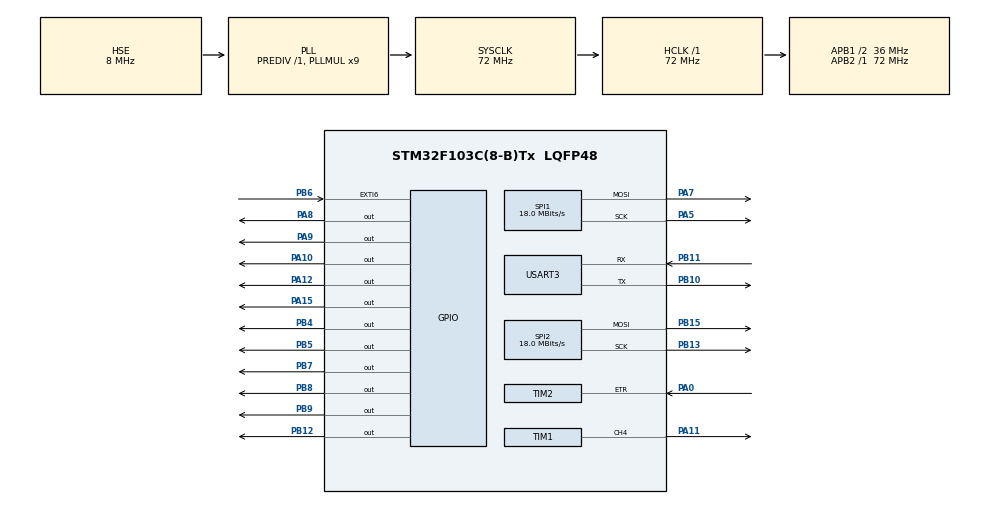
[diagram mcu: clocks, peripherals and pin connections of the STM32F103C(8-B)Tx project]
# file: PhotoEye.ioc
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Dma.Request0=SPI1_TX
Dma.SPI1_TX.0.Direction=DMA_MEMORY_TO_PERIPH
Dma.SPI1_TX.0.Instance=DMA1_Channel3
Dma.SPI1_TX.0.MemDataAlignment=DMA_MDATAALIGN_BYTE
Dma.SPI1_TX.0.MemInc=DMA_MINC_ENABLE
Dma.SPI1_TX.0.Mode=DMA_NORMAL
Dma.SPI1_TX.0.PeriphDataAlignment=DMA_PDATAALIGN_BYTE
Dma.SPI1_TX.0.PeriphInc=DMA_PINC_DISABLE
Dma.SPI1_TX.0.Priority=DMA_PRIORITY_LOW
Mcu.Family=STM32F1
Mcu.Name=STM32F103C(8-B)Tx
Mcu.Package=LQFP48
NVIC.DMA1_Channel3_IRQn=true\:0\:0\:false\:false\:true\:false\:true
NVIC.EXTI9_5_IRQn=true\:0\:0\:false\:false\:true\:true\:true
NVIC.PriorityGroup=NVIC_PRIORITYGROUP_4
NVIC.TIM2_IRQn=true\:0\:0\:false\:false\:true\:true\:true
NVIC.USART3_IRQn=true\:0\:0\:false\:false\:true\:true\:true
PA0-WKUP.Signal=S_TIM2_CH1_ETR
PA10.Signal=GPIO_Output
PA11.Signal=S_TIM1_CH4
PA12.Signal=GPIO_Output
PA13.Mode=Trace_Asynchronous_SW
PA13.Signal=SYS_JTMS-SWDIO
PA14.Mode=Trace_Asynchronous_SW
PA14.Signal=SYS_JTCK-SWCLK
PA15.Signal=GPIO_Output
PA5.Mode=TX_Only_Simplex_Unidirect_Master
PA5.Signal=SPI1_SCK
PA7.Mode=TX_Only_Simplex_Unidirect_Master
PA7.Signal=SPI1_MOSI
PA8.Signal=GPIO_Output
PA9.Signal=GPIO_Output
PB10.Mode=Asynchronous
PB10.Signal=USART3_TX
PB11.Mode=Asynchronous
PB11.Signal=USART3_RX
PB12.Signal=GPIO_Output
PB13.Mode=TX_Only_Simplex_Unidirect_Master
PB13.Signal=SPI2_SCK
PB15.Mode=TX_Only_Simplex_Unidirect_Master
PB15.Signal=SPI2_MOSI
PB3.Mode=Trace_Asynchronous_SW
PB3.Signal=SYS_JTDO-TRACESWO
PB4.Signal=GPIO_Output
PB5.Signal=GPIO_Output
PB6.Signal=GPXTI6
PB7.Signal=GPIO_Output
PB8.Signal=GPIO_Output
PB9.Signal=GPIO_Output
PD0-OSC_IN.Mode=HSE-External-Oscillator
PD0-OSC_IN.Signal=RCC_OSC_IN
PD1-OSC_OUT.Mode=HSE-External-Oscillator
PD1-OSC_OUT.Signal=RCC_OSC_OUT
ProjectManager.HeapSize=0x200
ProjectManager.StackSize=0x400
ProjectManager.TargetToolchain=MDK-ARM V5.27
RCC.AHBFreq_Value=72000000
RCC.APB1CLKDivider=RCC_HCLK_DIV2
RCC.APB1Freq_Value=36000000
RCC.APB1TimFreq_Value=72000000
RCC.APB2Freq_Value=72000000
RCC.APB2TimFreq_Value=72000000
RCC.HCLKFreq_Value=72000000
RCC.PLLMUL=RCC_PLL_MUL9
RCC.PLLSourceVirtual=RCC_PLLSOURCE_HSE
RCC.SYSCLKFreq_VALUE=72000000
RCC.SYSCLKSource=RCC_SYSCLKSOURCE_PLLCLK
RCC.USBFreq_Value=72000000
SH.S_TIM1_CH4.0=TIM1_CH4,PWM Generation4 CH4
SH.S_TIM2_CH1_ETR.0=TIM2_ETR,ClockSourceETR_Mode2
SPI1.BaudRatePrescaler=SPI_BAUDRATEPRESCALER_4
SPI1.CLKPhase=SPI_PHASE_2EDGE
SPI1.CLKPolarity=SPI_POLARITY_HIGH
SPI1.CRCCalculation=SPI_CRCCALCULATION_DISABLE
SPI1.CalculateBaudRate=18.0 MBits/s
SPI1.Direction=SPI_DIRECTION_2LINES
SPI1.Mode=SPI_MODE_MASTER
SPI1.VirtualType=VM_MASTER
SPI2.CLKPhase=SPI_PHASE_2EDGE
SPI2.CLKPolarity=SPI_POLARITY_HIGH
SPI2.CalculateBaudRate=18.0 MBits/s
SPI2.Direction=SPI_DIRECTION_2LINES
SPI2.Mode=SPI_MODE_MASTER
SPI2.VirtualType=VM_MASTER
TIM1.Channel-PWM\ Generation4\ CH4=TIM_CHANNEL_4
TIM1.Period=499
TIM1.Prescaler=71
TIM2.Period=1999
TIM2.Prescaler=360
USART3.VirtualMode=VM_ASYNC
board=custom

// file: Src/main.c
/* USER CODE BEGIN Header */
/**
  ******************************************************************************
  * @file           : main.c
  * @brief          : Main program body
  ******************************************************************************
  * @attention
  *
  * <h2><center>&copy; Copyright (c) 2020 STMicroelectronics.
  * All rights reserved.</center></h2>
  *
  * This software component is licensed by ST under BSD 3-Clause license,
  * the "License"; You may not use this file except in compliance with the
  * License. You may obtain a copy of the License at:
  *                        opensource.org/licenses/BSD-3-Clause
  *
  ******************************************************************************
  */
/* USER CODE END Header */

#include "main.h"

/* USER CODE BEGIN Includes */
#include "oled.h"
#include "I2C_Soft.h"
#include "uart.h"
#include <stdio.h>
#include "vl53l0x.h"
/* USER CODE END Includes */

SPI_HandleTypeDef hspi1;
SPI_HandleTypeDef hspi2;
DMA_HandleTypeDef hdma_spi1_tx;

TIM_HandleTypeDef htim1;
TIM_HandleTypeDef htim2;

UART_HandleTypeDef huart3;

/* USER CODE BEGIN PV */
int VL_DISTANCE;
char VL_LCD_str[16];
/* USER CODE END PV */

void SystemClock_Config(void);
static void MX_GPIO_Init(void);
static void MX_DMA_Init(void);
static void MX_SPI1_Init(void);
static void MX_SPI2_Init(void);
static void MX_USART3_UART_Init(void);
static void MX_TIM2_Init(void);
static void MX_TIM1_Init(void);

/* USER CODE BEGIN 0 */
void delay_ms_mainc(uint16_t ms){
  int us, ns;
  while (ms--)
  {
    for (ns = 0; ns < 1000;ns++){
      for (us = 72; ns > 0;ns--){}
    }
  }
}
/* USER CODE END 0 */

int main(void)
{

  /* MCU Configuration--------------------------------------------------------*/

  /* Reset of all peripherals, Initializes the Flash interface and the Systick. */
  HAL_Init();

  /* Configure the system clock */
  SystemClock_Config();

  /* Initialize all configured peripherals */
  MX_GPIO_Init();
  MX_DMA_Init();
  MX_SPI1_Init();
  MX_SPI2_Init();
  MX_USART3_UART_Init();
  MX_TIM2_Init();
  MX_TIM1_Init();
  /* USER CODE BEGIN 2 */
	__HAL_SPI_ENABLE(&hspi2);
	SPI2->CR1 &= 0xffffffc7;
	LCD_Init();
  LCD_Sync_1bit();
	HAL_TIM_Base_Start_IT(&htim2);//GUI update function
	HAL_TIM_PWM_Start(&htim1,TIM_CHANNEL_4);
	TIM1->CCR4 = 250;

	LED_R = 0;
	LED_B = 0;
	BK = 1;
	Laser = 1;
	delay_ms(100);
  LCD_Clear(BACK_COLOR);
	TIM1->CCR4 = 0;
	printf("\r\nPhotoEye online.\r\n");

  /* USER CODE END 2 */

  /* Infinite loop */
  /* USER CODE BEGIN WHILE */
  int VL_MODE=0;
  while (1)
  {
    /* USER CODE END WHILE */
    /* USER CODE BEGIN 3 */
		VL_DISTANCE =	One_measurement(VL_MODE);
    switch (VL_MODE)
    {
    case 0:
      LCD_ShowString(16, 16, "Default");
      break;
    case 1:
      LCD_ShowString(16, 16, "High Accurance");
      break;
    case 2:
      LCD_ShowString(16, 16, "Long Distance");
      break;
    case 3:
      LCD_ShowString(16, 16, "High Speed");
      break;

    default:
      break;
    }
    sprintf(VL_LCD_str, "d.%4d mm", VL_DISTANCE);
    LCD_ShowString(16, 32, VL_LCD_str);
  }
  /* USER CODE END 3 */
}

void SystemClock_Config(void)
{
  RCC_OscInitTypeDef RCC_OscInitStruct = {0};
  RCC_ClkInitTypeDef RCC_ClkInitStruct = {0};

  /** Initializes the CPU, AHB and APB busses clocks
  */
  RCC_OscInitStruct.OscillatorType = RCC_OSCILLATORTYPE_HSE;
  RCC_OscInitStruct.HSEState = RCC_HSE_ON;
  RCC_OscInitStruct.HSEPredivValue = RCC_HSE_PREDIV_DIV1;
  RCC_OscInitStruct.HSIState = RCC_HSI_ON;
  RCC_OscInitStruct.PLL.PLLState = RCC_PLL_ON;
  RCC_OscInitStruct.PLL.PLLSource = RCC_PLLSOURCE_HSE;
  RCC_OscInitStruct.PLL.PLLMUL = RCC_PLL_MUL9;
  if (HAL_RCC_OscConfig(&RCC_OscInitStruct) != HAL_OK)
  {
    Error_Handler();
  }
  /** Initializes the CPU, AHB and APB busses clocks
  */
  RCC_ClkInitStruct.ClockType = RCC_CLOCKTYPE_HCLK|RCC_CLOCKTYPE_SYSCLK
                              |RCC_CLOCKTYPE_PCLK1|RCC_CLOCKTYPE_PCLK2;
  RCC_ClkInitStruct.SYSCLKSource = RCC_SYSCLKSOURCE_PLLCLK;
  RCC_ClkInitStruct.AHBCLKDivider = RCC_SYSCLK_DIV1;
  RCC_ClkInitStruct.APB1CLKDivider = RCC_HCLK_DIV2;
  RCC_ClkInitStruct.APB2CLKDivider = RCC_HCLK_DIV1;

  if (HAL_RCC_ClockConfig(&RCC_ClkInitStruct, FLASH_LATENCY_2) != HAL_OK)
  {
    Error_Handler();
  }
}

static void MX_SPI1_Init(void)
{

  /* SPI1 parameter configuration*/
  hspi1.Instance = SPI1;
  hspi1.Init.Mode = SPI_MODE_MASTER;
  hspi1.Init.Direction = SPI_DIRECTION_2LINES;
  hspi1.Init.DataSize = SPI_DATASIZE_8BIT;
  hspi1.Init.CLKPolarity = SPI_POLARITY_HIGH;
  hspi1.Init.CLKPhase = SPI_PHASE_2EDGE;
  hspi1.Init.NSS = SPI_NSS_SOFT;
  hspi1.Init.BaudRatePrescaler = SPI_BAUDRATEPRESCALER_4;
  hspi1.Init.FirstBit = SPI_FIRSTBIT_MSB;
  hspi1.Init.TIMode = SPI_TIMODE_DISABLE;
  hspi1.Init.CRCCalculation = SPI_CRCCALCULATION_DISABLE;
  hspi1.Init.CRCPolynomial = 10;
  if (HAL_SPI_Init(&hspi1) != HAL_OK)
  {
    Error_Handler();
  }

}

static void MX_SPI2_Init(void)
{

  /* SPI2 parameter configuration*/
  hspi2.Instance = SPI2;
  hspi2.Init.Mode = SPI_MODE_MASTER;
  hspi2.Init.Direction = SPI_DIRECTION_2LINES;
  hspi2.Init.DataSize = SPI_DATASIZE_8BIT;
  hspi2.Init.CLKPolarity = SPI_POLARITY_HIGH;
  hspi2.Init.CLKPhase = SPI_PHASE_2EDGE;
  hspi2.Init.NSS = SPI_NSS_SOFT;
  hspi2.Init.BaudRatePrescaler = SPI_BAUDRATEPRESCALER_2;
  hspi2.Init.FirstBit = SPI_FIRSTBIT_MSB;
  hspi2.Init.TIMode = SPI_TIMODE_DISABLE;
  hspi2.Init.CRCCalculation = SPI_CRCCALCULATION_DISABLE;
  hspi2.Init.CRCPolynomial = 10;
  if (HAL_SPI_Init(&hspi2) != HAL_OK)
  {
    Error_Handler();
  }

}

static void MX_TIM1_Init(void)
{

  TIM_MasterConfigTypeDef sMasterConfig = {0};
  TIM_OC_InitTypeDef sConfigOC = {0};
  TIM_BreakDeadTimeConfigTypeDef sBreakDeadTimeConfig = {0};

  htim1.Instance = TIM1;
  htim1.Init.Prescaler = 71;
  htim1.Init.CounterMode = TIM_COUNTERMODE_UP;
  htim1.Init.Period = 499;
  htim1.Init.ClockDivision = TIM_CLOCKDIVISION_DIV1;
  htim1.Init.RepetitionCounter = 0;
  htim1.Init.AutoReloadPreload = TIM_AUTORELOAD_PRELOAD_DISABLE;
  if (HAL_TIM_PWM_Init(&htim1) != HAL_OK)
  {
    Error_Handler();
  }
  sMasterConfig.MasterOutputTrigger = TIM_TRGO_RESET;
  sMasterConfig.MasterSlaveMode = TIM_MASTERSLAVEMODE_DISABLE;
  if (HAL_TIMEx_MasterConfigSynchronization(&htim1, &sMasterConfig) != HAL_OK)
  {
    Error_Handler();
  }
  sConfigOC.OCMode = TIM_OCMODE_PWM1;
  sConfigOC.Pulse = 0;
  sConfigOC.OCPolarity = TIM_OCPOLARITY_HIGH;
  sConfigOC.OCFastMode = TIM_OCFAST_DISABLE;
  sConfigOC.OCIdleState = TIM_OCIDLESTATE_RESET;
  sConfigOC.OCNIdleState = TIM_OCNIDLESTATE_RESET;
  if (HAL_TIM_PWM_ConfigChannel(&htim1, &sConfigOC, TIM_CHANNEL_4) != HAL_OK)
  {
    Error_Handler();
  }
  sBreakDeadTimeConfig.OffStateRunMode = TIM_OSSR_DISABLE;
  sBreakDeadTimeConfig.OffStateIDLEMode = TIM_OSSI_DISABLE;
  sBreakDeadTimeConfig.LockLevel = TIM_LOCKLEVEL_OFF;
  sBreakDeadTimeConfig.DeadTime = 0;
  sBreakDeadTimeConfig.BreakState = TIM_BREAK_DISABLE;
  sBreakDeadTimeConfig.BreakPolarity = TIM_BREAKPOLARITY_HIGH;
  sBreakDeadTimeConfig.AutomaticOutput = TIM_AUTOMATICOUTPUT_DISABLE;
  if (HAL_TIMEx_ConfigBreakDeadTime(&htim1, &sBreakDeadTimeConfig) != HAL_OK)
  {
    Error_Handler();
  }
  HAL_TIM_MspPostInit(&htim1);

}

static void MX_TIM2_Init(void)
{

  TIM_ClockConfigTypeDef sClockSourceConfig = {0};
  TIM_MasterConfigTypeDef sMasterConfig = {0};

  htim2.Instance = TIM2;
  htim2.Init.Prescaler = 360;
  htim2.Init.CounterMode = TIM_COUNTERMODE_UP;
  htim2.Init.Period = 1999;
  htim2.Init.ClockDivision = TIM_CLOCKDIVISION_DIV1;
  htim2.Init.AutoReloadPreload = TIM_AUTORELOAD_PRELOAD_DISABLE;
  if (HAL_TIM_Base_Init(&htim2) != HAL_OK)
  {
    Error_Handler();
  }
  sClockSourceConfig.ClockSource = TIM_CLOCKSOURCE_ETRMODE2;
  sClockSourceConfig.ClockPolarity = TIM_CLOCKPOLARITY_NONINVERTED;
  sClockSourceConfig.ClockPrescaler = TIM_CLOCKPRESCALER_DIV1;
  sClockSourceConfig.ClockFilter = 0;
  if (HAL_TIM_ConfigClockSource(&htim2, &sClockSourceConfig) != HAL_OK)
  {
    Error_Handler();
  }
  sMasterConfig.MasterOutputTrigger = TIM_TRGO_RESET;
  sMasterConfig.MasterSlaveMode = TIM_MASTERSLAVEMODE_DISABLE;
  if (HAL_TIMEx_MasterConfigSynchronization(&htim2, &sMasterConfig) != HAL_OK)
  {
    Error_Handler();
  }

}

static void MX_USART3_UART_Init(void)
{

  huart3.Instance = USART3;
  huart3.Init.BaudRate = 115200;
  huart3.Init.WordLength = UART_WORDLENGTH_8B;
  huart3.Init.StopBits = UART_STOPBITS_1;
  huart3.Init.Parity = UART_PARITY_NONE;
  huart3.Init.Mode = UART_MODE_TX_RX;
  huart3.Init.HwFlowCtl = UART_HWCONTROL_NONE;
  huart3.Init.OverSampling = UART_OVERSAMPLING_16;
  if (HAL_UART_Init(&huart3) != HAL_OK)
  {
    Error_Handler();
  }

}

static void MX_DMA_Init(void)
{

  /* DMA controller clock enable */
  __HAL_RCC_DMA1_CLK_ENABLE();

  /* DMA interrupt init */
  /* DMA1_Channel3_IRQn interrupt configuration */
  HAL_NVIC_SetPriority(DMA1_Channel3_IRQn, 0, 0);
  HAL_NVIC_EnableIRQ(DMA1_Channel3_IRQn);

}

static void MX_GPIO_Init(void)
{
  GPIO_InitTypeDef GPIO_InitStruct = {0};

  /* GPIO Ports Clock Enable */
  __HAL_RCC_GPIOD_CLK_ENABLE();
  __HAL_RCC_GPIOA_CLK_ENABLE();
  __HAL_RCC_GPIOB_CLK_ENABLE();

  /*Configure GPIO pin Output Level */
  HAL_GPIO_WritePin(GPIOB, GPIO_PIN_12|GPIO_PIN_4|GPIO_PIN_5|GPIO_PIN_7
                          |GPIO_PIN_8|GPIO_PIN_9, GPIO_PIN_RESET);

  /*Configure GPIO pin Output Level */
  HAL_GPIO_WritePin(GPIOA, GPIO_PIN_8|GPIO_PIN_9|GPIO_PIN_10|GPIO_PIN_12
                          |GPIO_PIN_15, GPIO_PIN_RESET);

  /*Configure GPIO pins : PB12 PB4 PB5 PB7
                           PB8 PB9 */
  GPIO_InitStruct.Pin = GPIO_PIN_12|GPIO_PIN_4|GPIO_PIN_5|GPIO_PIN_7
                          |GPIO_PIN_8|GPIO_PIN_9;
  GPIO_InitStruct.Mode = GPIO_MODE_OUTPUT_PP;
  GPIO_InitStruct.Pull = GPIO_NOPULL;
  GPIO_InitStruct.Speed = GPIO_SPEED_FREQ_LOW;
  HAL_GPIO_Init(GPIOB, &GPIO_InitStruct);

  /*Configure GPIO pins : PA8 PA9 PA10 PA12
                           PA15 */
  GPIO_InitStruct.Pin = GPIO_PIN_8|GPIO_PIN_9|GPIO_PIN_10|GPIO_PIN_12
                          |GPIO_PIN_15;
  GPIO_InitStruct.Mode = GPIO_MODE_OUTPUT_PP;
  GPIO_InitStruct.Pull = GPIO_NOPULL;
  GPIO_InitStruct.Speed = GPIO_SPEED_FREQ_LOW;
  HAL_GPIO_Init(GPIOA, &GPIO_InitStruct);

  /*Configure GPIO pin : PB6 */
  GPIO_InitStruct.Pin = GPIO_PIN_6;
  GPIO_InitStruct.Mode = GPIO_MODE_IT_RISING;
  GPIO_InitStruct.Pull = GPIO_NOPULL;
  HAL_GPIO_Init(GPIOB, &GPIO_InitStruct);

  /* EXTI interrupt init*/
  HAL_NVIC_SetPriority(EXTI9_5_IRQn, 0, 0);
  HAL_NVIC_EnableIRQ(EXTI9_5_IRQn);

}

void Error_Handler(void)
{
}

/************************ (C) COPYRIGHT STMicroelectronics *****END OF FILE****/
